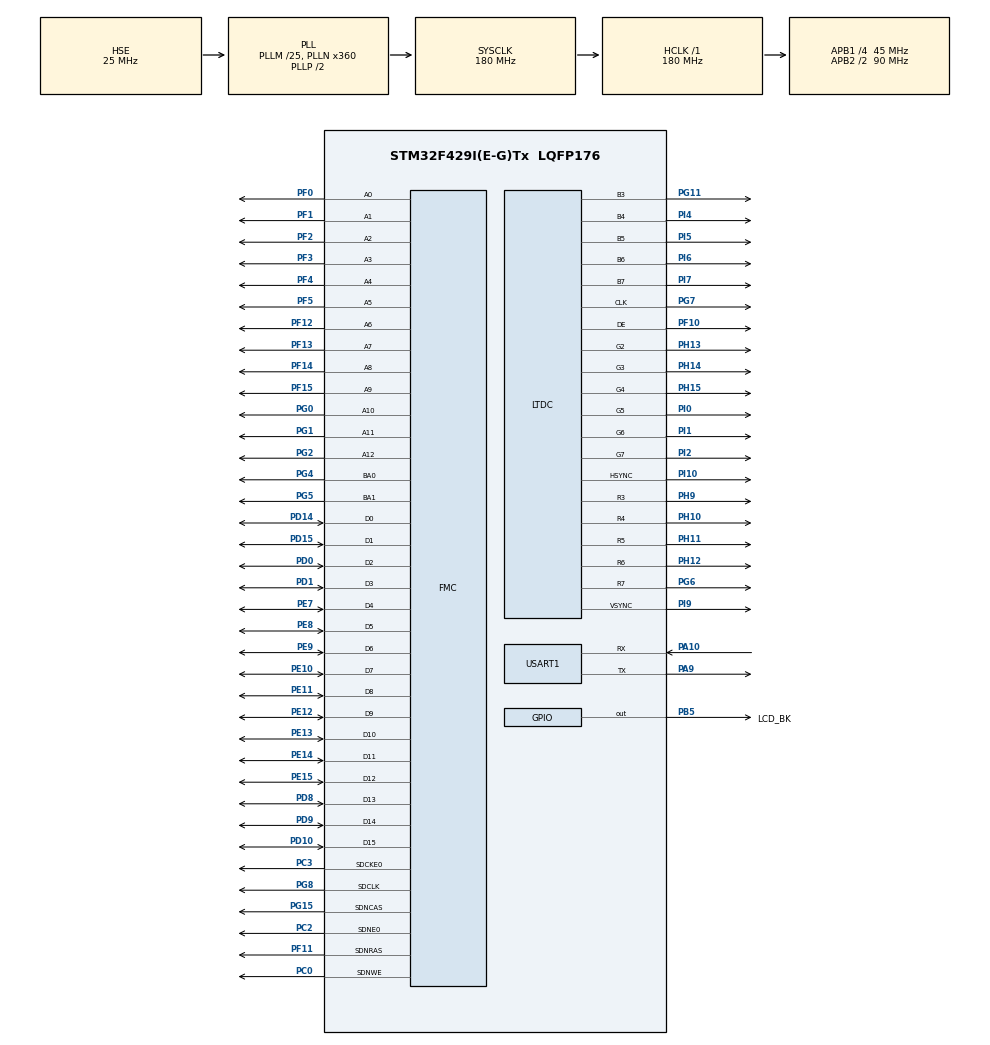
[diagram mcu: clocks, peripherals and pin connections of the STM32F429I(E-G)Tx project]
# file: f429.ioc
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DMA2D.ColorMode=DMA2D_OUTPUT_ARGB8888
FMC.CASLatency1=FMC_SDRAM_CAS_LATENCY_3
FMC.ColumnBitsNumber1=FMC_SDRAM_COLUMN_BITS_NUM_9
FMC.ExitSelfRefreshDelay1=8
FMC.LoadToActiveDelay1=2
FMC.RCDDelay1=2
FMC.RPDelay1=2
FMC.ReadBurst1=FMC_SDRAM_RBURST_ENABLE
FMC.ReadBurst2=FMC_SDRAM_RBURST_ENABLE
FMC.ReadPipeDelay1=FMC_SDRAM_RPIPE_DELAY_1
FMC.RowCycleDelay1=6
FMC.SDClockPeriod1=FMC_SDRAM_CLOCK_PERIOD_2
FMC.SelfRefreshTime1=6
FMC.WriteRecoveryTime1=4
LTDC.ActiveH=PIXELS_H
LTDC.ActiveW=PIXELS_W
LTDC.Alpha0_L1=255
LTDC.Alpha_L0=255
LTDC.Alpha_L1=0
LTDC.FBStartAdress_L0=LTDC_BUFF_ADDR
LTDC.HBP=140
LTDC.HFP=160
LTDC.HSync=20
LTDC.ImageHeight_L0=PIXELS_H
LTDC.ImageWidth_L0=PIXELS_W
LTDC.Layers=0
LTDC.PixelFormat_L0=LTDC_PIXEL_FORMAT_RGB565
LTDC.VBP=20
LTDC.VFP=12
LTDC.VSync=3
LTDC.WindowX1_L0=PIXELS_W
LTDC.WindowX1_L1=1024
LTDC.WindowY1_L0=PIXELS_H
LTDC.WindowY1_L1=600
Mcu.Family=STM32F4
Mcu.Name=STM32F429I(E-G)Tx
Mcu.Package=LQFP176
Mcu.UserConstants=LTDC_BUFF_ADDR,0XC0000000;PIXELS_W,1024;PIXELS_H,600;PIXELS_DIR,0
NVIC.PriorityGroup=NVIC_PRIORITYGROUP_4
PA10.Mode=Asynchronous
PA10.Signal=USART1_RX
PA9.Mode=Asynchronous
PA9.Signal=USART1_TX
PB5.GPIO_Label=LCD_BK
PB5.Signal=GPIO_Output
PC0.Signal=FMC_SDNWE
PC2.Mode=SdramChipSelect1_1
PC2.Signal=FMC_SDNE0
PC3.Mode=SdramChipSelect1_1
PC3.Signal=FMC_SDCKE0
PD0.Signal=FMC_D2_DA2
PD1.Signal=FMC_D3_DA3
PD10.Signal=FMC_D15_DA15
PD14.Signal=FMC_D0_DA0
PD15.Signal=FMC_D1_DA1
PD8.Signal=FMC_D13_DA13
PD9.Signal=FMC_D14_DA14
PE0.Signal=FMC_NBL0
PE1.Signal=FMC_NBL1
PE10.Signal=FMC_D7_DA7
PE11.Signal=FMC_D8_DA8
PE12.Signal=FMC_D9_DA9
PE13.Signal=FMC_D10_DA10
PE14.Signal=FMC_D11_DA11
PE15.Signal=FMC_D12_DA12
PE7.Signal=FMC_D4_DA4
PE8.Signal=FMC_D5_DA5
PE9.Signal=FMC_D6_DA6
PF0.Signal=FMC_A0
PF1.Signal=FMC_A1
PF10.GPIO_Speed=GPIO_SPEED_FREQ_HIGH
PF10.Mode=RGB565
PF10.Signal=LTDC_DE
PF11.Signal=FMC_SDNRAS
PF12.Signal=FMC_A6
PF13.Signal=FMC_A7
PF14.Signal=FMC_A8
PF15.Signal=FMC_A9
PF2.Signal=FMC_A2
PF3.Signal=FMC_A3
PF4.Signal=FMC_A4
PF5.Signal=FMC_A5
PG0.Signal=FMC_A10
PG1.Signal=FMC_A11
PG11.GPIO_Speed=GPIO_SPEED_FREQ_HIGH
PG11.Mode=RGB565
PG11.Signal=LTDC_B3
PG15.Signal=FMC_SDNCAS
PG2.Signal=FMC_A12
PG4.Signal=FMC_A14_BA0
PG5.Signal=FMC_A15_BA1
PG6.GPIO_Speed=GPIO_SPEED_FREQ_HIGH
PG6.Mode=RGB565
PG6.Signal=LTDC_R7
PG7.GPIO_Speed=GPIO_SPEED_FREQ_HIGH
PG7.Mode=RGB565
PG7.Signal=LTDC_CLK
PG8.Signal=FMC_SDCLK
PH0/OSC_IN.Mode=HSE-External-Oscillator
PH0/OSC_IN.Signal=RCC_OSC_IN
PH1/OSC_OUT.Mode=HSE-External-Oscillator
PH1/OSC_OUT.Signal=RCC_OSC_OUT
PH10.GPIO_Speed=GPIO_SPEED_FREQ_HIGH
PH10.Mode=RGB565
PH10.Signal=LTDC_R4
PH11.GPIO_Speed=GPIO_SPEED_FREQ_HIGH
PH11.Mode=RGB565
PH11.Signal=LTDC_R5
PH12.GPIO_Speed=GPIO_SPEED_FREQ_HIGH
PH12.Mode=RGB565
PH12.Signal=LTDC_R6
PH13.GPIO_Speed=GPIO_SPEED_FREQ_HIGH
PH13.Mode=RGB565
PH13.Signal=LTDC_G2
PH14.GPIO_Speed=GPIO_SPEED_FREQ_HIGH
PH14.Mode=RGB565
PH14.Signal=LTDC_G3
PH15.GPIO_Speed=GPIO_SPEED_FREQ_HIGH
PH15.Mode=RGB565
PH15.Signal=LTDC_G4
PH9.GPIO_Speed=GPIO_SPEED_FREQ_HIGH
PH9.Mode=RGB565
PH9.Signal=LTDC_R3
PI0.GPIO_Speed=GPIO_SPEED_FREQ_HIGH
PI0.Mode=RGB565
PI0.Signal=LTDC_G5
PI1.GPIO_Speed=GPIO_SPEED_FREQ_HIGH
PI1.Mode=RGB565
PI1.Signal=LTDC_G6
PI10.GPIO_Speed=GPIO_SPEED_FREQ_HIGH
PI10.Mode=RGB565
PI10.Signal=LTDC_HSYNC
PI2.GPIO_Speed=GPIO_SPEED_FREQ_HIGH
PI2.Mode=RGB565
PI2.Signal=LTDC_G7
PI4.GPIO_Speed=GPIO_SPEED_FREQ_HIGH
PI4.Mode=RGB565
PI4.Signal=LTDC_B4
PI5.GPIO_Speed=GPIO_SPEED_FREQ_HIGH
PI5.Mode=RGB565
PI5.Signal=LTDC_B5
PI6.GPIO_Speed=GPIO_SPEED_FREQ_HIGH
PI6.Mode=RGB565
PI6.Signal=LTDC_B6
PI7.GPIO_Speed=GPIO_SPEED_FREQ_HIGH
PI7.Mode=RGB565
PI7.Signal=LTDC_B7
PI9.GPIO_Speed=GPIO_SPEED_FREQ_HIGH
PI9.Mode=RGB565
PI9.Signal=LTDC_VSYNC
ProjectManager.HeapSize=0x400
ProjectManager.StackSize=0x800
ProjectManager.TargetToolchain=MDK-ARM V5.27
RCC.48MHZClocksFreq_Value=90000000
RCC.AHBFreq_Value=180000000
RCC.APB1CLKDivider=RCC_HCLK_DIV4
RCC.APB1Freq_Value=45000000
RCC.APB1TimFreq_Value=90000000
RCC.APB2CLKDivider=RCC_HCLK_DIV2
RCC.APB2Freq_Value=90000000
RCC.APB2TimFreq_Value=180000000
RCC.CortexFreq_Value=180000000
RCC.HCLKFreq_Value=180000000
RCC.HSE_VALUE=25000000
RCC.HSI_VALUE=16000000
RCC.LSE_VALUE=32768
RCC.PLLM=25
RCC.PLLN=360
RCC.PLLSAIN=180
RCC.PLLSourceVirtual=RCC_PLLSOURCE_HSE
RCC.SYSCLKFreq_VALUE=180000000
RCC.SYSCLKSource=RCC_SYSCLKSOURCE_PLLCLK
RCC.VCOOutputFreq_Value=360000000
SH.FMC_A0.0=FMC_A0,13b-sda1
SH.FMC_A1.0=FMC_A1,13b-sda1
SH.FMC_A10.0=FMC_A10,13b-sda1
SH.FMC_A11.0=FMC_A11,13b-sda1
SH.FMC_A12.0=FMC_A12,13b-sda1
SH.FMC_A14_BA0.0=FMC_BA0,FourSdramBanks1
SH.FMC_A15_BA1.0=FMC_BA1,FourSdramBanks1
SH.FMC_A2.0=FMC_A2,13b-sda1
SH.FMC_A3.0=FMC_A3,13b-sda1
SH.FMC_A4.0=FMC_A4,13b-sda1
SH.FMC_A5.0=FMC_A5,13b-sda1
SH.FMC_A6.0=FMC_A6,13b-sda1
SH.FMC_A7.0=FMC_A7,13b-sda1
SH.FMC_A8.0=FMC_A8,13b-sda1
SH.FMC_A9.0=FMC_A9,13b-sda1
SH.FMC_D0_DA0.0=FMC_D0,sd-16b-d1
SH.FMC_D10_DA10.0=FMC_D10,sd-16b-d1
SH.FMC_D11_DA11.0=FMC_D11,sd-16b-d1
SH.FMC_D12_DA12.0=FMC_D12,sd-16b-d1
SH.FMC_D13_DA13.0=FMC_D13,sd-16b-d1
SH.FMC_D14_DA14.0=FMC_D14,sd-16b-d1
SH.FMC_D15_DA15.0=FMC_D15,sd-16b-d1
SH.FMC_D1_DA1.0=FMC_D1,sd-16b-d1
SH.FMC_D2_DA2.0=FMC_D2,sd-16b-d1
SH.FMC_D3_DA3.0=FMC_D3,sd-16b-d1
SH.FMC_D4_DA4.0=FMC_D4,sd-16b-d1
SH.FMC_D5_DA5.0=FMC_D5,sd-16b-d1
SH.FMC_D6_DA6.0=FMC_D6,sd-16b-d1
SH.FMC_D7_DA7.0=FMC_D7,sd-16b-d1
SH.FMC_D8_DA8.0=FMC_D8,sd-16b-d1
SH.FMC_D9_DA9.0=FMC_D9,sd-16b-d1
SH.FMC_NBL0.0=FMC_NBL0
SH.FMC_NBL1.0=FMC_NBL1
SH.FMC_SDCLK.0=FMC_SDCLK,13b-sda1
SH.FMC_SDNCAS.0=FMC_SDNCAS,13b-sda1
SH.FMC_SDNRAS.0=FMC_SDNRAS,13b-sda1
SH.FMC_SDNWE.0=FMC_SDNWE,13b-sda1
USART1.VirtualMode=VM_ASYNC
VP_DMA2D_VS_DMA2D.Mode=DMA2D_Activate
board=custom

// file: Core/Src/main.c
/* USER CODE BEGIN Header */
/**
  ******************************************************************************
  * @file           : main.c
  * @brief          : Main program body
  ******************************************************************************
  * @attention
  *
  * <h2><center>&copy; Copyright (c) 2020 STMicroelectronics.
  * All rights reserved.</center></h2>
  *
  * This software component is licensed by ST under BSD 3-Clause license,
  * the "License"; You may not use this file except in compliance with the
  * License. You may obtain a copy of the License at:
  *                        opensource.org/licenses/BSD-3-Clause
  *
  ******************************************************************************
  */
/* USER CODE END Header */
#include "main.h"
#include "dma2d.h"
#include "ltdc.h"
#include "usart.h"
#include "gpio.h"
#include "fmc.h"

/* USER CODE BEGIN Includes */
#include "ft5206.h"
/* USER CODE END Includes */

void SystemClock_Config(void);

/* USER CODE BEGIN 0 */

void fsmc_sdram_test(uint16_t x,uint16_t y)
{
	uint32_t i=0;
	uint32_t temp=0;
	uint32_t sval=0;	//在地址0读到的数据
	//每隔16K字节,写入一个数据,总共写入2048个数据,刚好是32M字节
	printf("SDRAM begin\r\n");
	for(i=0;i<32*1024*1024;i+=16*1024)
	{
		*(__IO uint32_t*)(Bank5_SDRAM_ADDR+i)=temp;
		temp++;
	}
	//依次读出之前写入的数据,进行校验
 	for(i=0;i<32*1024*1024;i+=16*1024)
	{
  		temp=*(__IO uint32_t*)(Bank5_SDRAM_ADDR+i);
		if(i==0)sval=temp;
 		else if(temp<=sval)break;//后面读出的数据一定要比第一次读到的数据大.
		printf("SDRAM Capacity:%dKB\r\n",(uint16_t)(temp-sval+1)*16);//打印SDRAM容量
 	}
}

uint8_t fac_us;
void delay_init(uint8_t SYSCLK)
{

    HAL_SYSTICK_CLKSourceConfig(SYSTICK_CLKSOURCE_HCLK);
    fac_us=SYSCLK;
}

void delay_us(uint32_t nus)
{
    uint32_t ticks;
    uint32_t told,tnow,tcnt=0;
    uint32_t reload=SysTick->LOAD;
    ticks=nus*fac_us;
    told=SysTick->VAL;
    while(1)
    {
        tnow=SysTick->VAL;
        if(tnow!=told)
        {
            if(tnow<told)tcnt+=told-tnow;
            else tcnt+=reload-tnow+told;
            told=tnow;
            if(tcnt>=ticks)break;
        }
    };
}

TouchTypedef mtouch;

/* USER CODE END 0 */

int main(void)
{

  /* MCU Configuration--------------------------------------------------------*/

  /* Reset of all peripherals, Initializes the Flash interface and the Systick. */
  HAL_Init();

  /* Configure the system clock */
  SystemClock_Config();

  /* Initialize all configured peripherals */
  MX_GPIO_Init();
  MX_LTDC_Init();
  MX_FMC_Init();
  MX_DMA2D_Init();
  MX_USART1_UART_Init();
  /* USER CODE BEGIN 2 */
	MX_SDRAM_InitEx();

	LTDC_Init();
	LTDC_Clear(WHITE);

	delay_init(180);
	ft5206_init();

	LTDC_Fill(20,20,100,100,BLACK);
	HAL_Delay(1000);
 LTDC_Fill(20,20,100,100,RED);

	mtouch.dir = PIXELS_DIR;
	mtouch.pix_h = PIXELS_H;
	mtouch.pix_w = PIXELS_W;
	//	HAL_Delay(1000);

	//fsmc_sdram_test(30,170);//测试SRAM容量

  /* USER CODE END 2 */

  /* Infinite loop */
  /* USER CODE BEGIN WHILE */
  while (1)
  {
		 if(ft5206_scan(&mtouch)){
			 LTDC_Draw_Point(mtouch.x[0],mtouch.y[0],BLACK);
		 }
    /* USER CODE END WHILE */

  }
}

void SystemClock_Config(void)
{
  RCC_OscInitTypeDef RCC_OscInitStruct = {0};
  RCC_ClkInitTypeDef RCC_ClkInitStruct = {0};
  RCC_PeriphCLKInitTypeDef PeriphClkInitStruct = {0};

  /** Configure the main internal regulator output voltage
  */
  __HAL_RCC_PWR_CLK_ENABLE();
  __HAL_PWR_VOLTAGESCALING_CONFIG(PWR_REGULATOR_VOLTAGE_SCALE1);
  /** Initializes the RCC Oscillators according to the specified parameters
  * in the RCC_OscInitTypeDef structure.
  */
  RCC_OscInitStruct.OscillatorType = RCC_OSCILLATORTYPE_HSE;
  RCC_OscInitStruct.HSEState = RCC_HSE_ON;
  RCC_OscInitStruct.PLL.PLLState = RCC_PLL_ON;
  RCC_OscInitStruct.PLL.PLLSource = RCC_PLLSOURCE_HSE;
  RCC_OscInitStruct.PLL.PLLM = 25;
  RCC_OscInitStruct.PLL.PLLN = 360;
  RCC_OscInitStruct.PLL.PLLP = RCC_PLLP_DIV2;
  RCC_OscInitStruct.PLL.PLLQ = 4;
  if (HAL_RCC_OscConfig(&RCC_OscInitStruct) != HAL_OK)
  {
    Error_Handler();
  }
  /** Activate the Over-Drive mode
  */
  if (HAL_PWREx_EnableOverDrive() != HAL_OK)
  {
    Error_Handler();
  }
  /** Initializes the CPU, AHB and APB buses clocks
  */
  RCC_ClkInitStruct.ClockType = RCC_CLOCKTYPE_HCLK|RCC_CLOCKTYPE_SYSCLK
                              |RCC_CLOCKTYPE_PCLK1|RCC_CLOCKTYPE_PCLK2;
  RCC_ClkInitStruct.SYSCLKSource = RCC_SYSCLKSOURCE_PLLCLK;
  RCC_ClkInitStruct.AHBCLKDivider = RCC_SYSCLK_DIV1;
  RCC_ClkInitStruct.APB1CLKDivider = RCC_HCLK_DIV4;
  RCC_ClkInitStruct.APB2CLKDivider = RCC_HCLK_DIV2;

  if (HAL_RCC_ClockConfig(&RCC_ClkInitStruct, FLASH_LATENCY_5) != HAL_OK)
  {
    Error_Handler();
  }
  PeriphClkInitStruct.PeriphClockSelection = RCC_PERIPHCLK_LTDC;
  PeriphClkInitStruct.PLLSAI.PLLSAIN = 180;
  PeriphClkInitStruct.PLLSAI.PLLSAIR = 2;
  PeriphClkInitStruct.PLLSAIDivR = RCC_PLLSAIDIVR_2;
  if (HAL_RCCEx_PeriphCLKConfig(&PeriphClkInitStruct) != HAL_OK)
  {
    Error_Handler();
  }
}

void Error_Handler(void)
{
}

/************************ (C) COPYRIGHT STMicroelectronics *****END OF FILE****/
